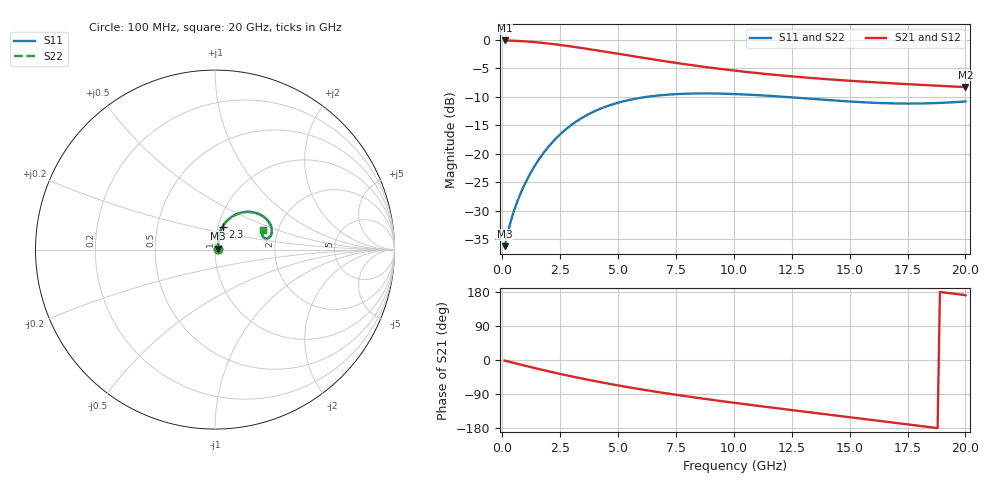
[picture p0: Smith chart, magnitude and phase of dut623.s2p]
! Touchstone file exported from HFSS 2024.1.0
!  File:  C:/UserFiles/LocalFiles/RDL_TSV_Batchsim/temp_RDL_TSV_623_1779802691.aedt
!  Generated:  09:53:52 PM May 26, 2026
!  Design:  RDL_TSV
!  Project:  temp_RDL_TSV_623_1779802691
!  Setup:  Setup1
!  Solution:  Sweep
! Variables:
!  dtsv = 5.8um
!  hbump = 3um
!  htsv = 55.53um
!  ldown = 651.3um
!  lrdl = 250.52um
!  p = 40
!  p1 = 54.7um
!  rhole = 10um
!  subl = 2955.98um
!  t = 450um
!  tdown = 4.37um
!  trdl = 2.43um
!  viad = 10um
!  wdown = 21.37um
!  wrdl = 28.82um
!  xbump = 18um
# GHz S MA R 50.000000
! Terminal data exported
! Port[1] = TM1_1_T1
! Port[2] = TM1_4_T1
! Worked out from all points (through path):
!   200 points, 100 MHz to 20 GHz, reference 50 ohm
!   highest |S21| = -0.13 dB at 100 MHz (marker M1); lowest = -8.3 dB at 20 GHz (marker M2)
!   group delay of S21, straight-line fit = 24.7 ps
!   lowest |S11| = -36.2 dB at 100 MHz (marker M3), VSWR 1.03, Z = 51.4 + j0.606 ohm
!   |S11| at or under -10 dB: start of sweep to 6.28 GHz; 12.12 GHz to end of sweep
!   |S22| runs from -36.2 to -9.4 dB; largest |S21 - S12| = 9.8e-15
!   S11 on the Smith chart (normalised r, x): 100 MHz: 1.03, +0.01; 2.3 GHz: 1.05, +0.27; 20 GHz: 1.67, +0.39
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0.1  0.01546 22.4  0.9856 -1.6  0.9856 -1.6  0.01546 22.4
! Gamma 0 0 0 0
! Port Impedance 50 0 50 0
0.3  0.02282 46.6  0.983 -4.7  0.983 -4.7  0.02282 46.6
0.5  0.03134 57.7  0.9795 -7.8  0.9795 -7.8  0.03134 57.7
0.7  0.04053 64.4  0.9752 -10.8  0.9752 -10.8  0.04053 64.4
1  0.05568 70.2  0.967 -15.4  0.967 -15.4  0.05568 70.1
1.3  0.07237 72.9  0.9567 -19.8  0.9567 -19.8  0.07237 72.9
1.6  0.09031 73.8  0.9445 -24.2  0.9445 -24.2  0.09031 73.8
2.3  0.135 71.7  0.9105 -34.0  0.9105 -34.0  0.135 71.7
2.9  0.1736 67.4  0.8772 -42.0  0.8772 -42.0  0.1736 67.4
3.5  0.2097 62.2  0.8419 -49.7  0.8419 -49.7  0.2096 62.2
4.2  0.2465 55.8  0.8 -58.1  0.8 -58.1  0.2464 55.8
5  0.2803 48.7  0.753 -67.1  0.753 -67.1  0.2802 48.7
5.9  0.3077 41.3  0.7033 -76.5  0.7033 -76.5  0.3076 41.3
6.8  0.3253 34.9  0.6581 -85.3  0.6581 -85.3  0.3252 34.8
8.4  0.3378 25.5  0.59 -99.6  0.59 -99.6  0.3377 25.5
10.1  0.3336 18.5  0.5338 -113.6  0.5338 -113.6  0.3334 18.4
11.7  0.3204 14.2  0.4935 -126.1  0.4935 -126.1  0.3202 14.2
13.4  0.3027 12.2  0.4608 -139.0  0.4608 -139.0  0.3024 12.2
15  0.2872 12.6  0.4367 -151.0  0.4367 -151.0  0.2868 12.6
16.7  0.277 15.0  0.4161 -163.8  0.4161 -163.8  0.2766 15.1
18.3  0.2767 18.5  0.3997 -175.9  0.3997 -175.9  0.2763 18.6
20  0.2873 22.0  0.3841 171.2  0.3841 171.2  0.2871 22.1
